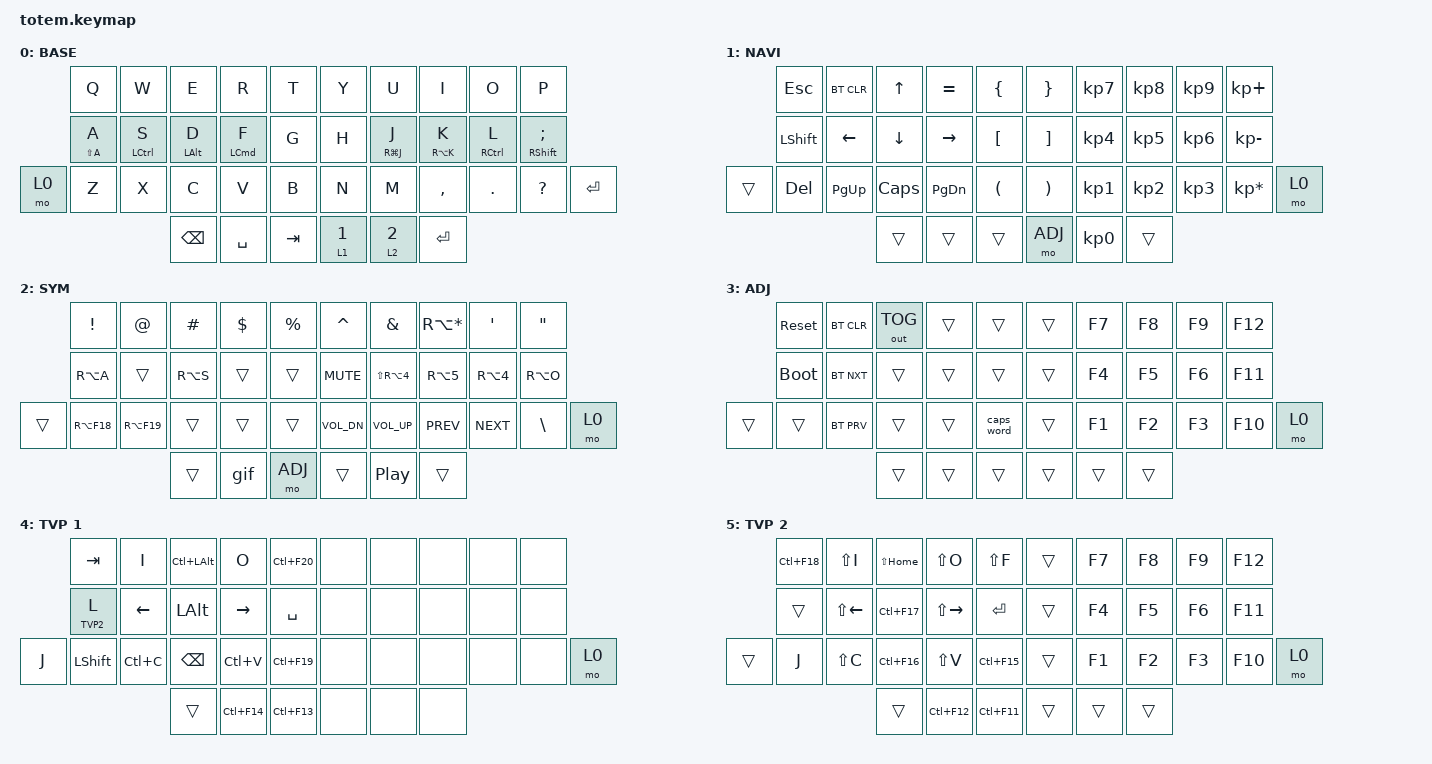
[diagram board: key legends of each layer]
//
//                                                        ▀▀▀▀▀     ▀▀▀▀▀          ▀▀█▀▀
//                                                        ▄▀▀▀▄  ▄  ▄▀▀▀▄  ▄  ▄▀▀▀▄  █  ▄▀▀▀▄
//                                                        █   █  █  █   █  █  █   █  █  █   █
//                                                         ▀▀▀   █   ▀▀▀   █   ▀▀▀   ▀   ▀▀▀
//                                                               █      ▄▄▄█▄▄▄    █   █  
//                                                               ▀      █  █  █     █▄█
//                                                             ▀▀▀▀▀    █  █  █      ▀
//                                                                      ▀  ▀  ▀
//
// ▄▄▄▄▄▄▄▄▄▄▄▄▄▄▄▄▄▄▄▄▄▄▄▄▄▄▄▄▄▄▄▄▄▄▄▄▄▄▄▄▄▄▄▄▄▄▄▄▄▄▄▄▄▄▄▄▄▄▄▄▄▄▄▄▄▄▄▄▄▄▄▄▄▄▄▄▄▄▄▄▄▄▄▄▄▄▄▄▄▄▄▄▄▄▄▄▄▄▄▄▄▄▄▄▄▄▄▄▄▄▄▄▄▄▄▄▄▄▄▄▄▄▄▄▄▄▄▄▄▄▄▄▄▄▄▄▄▄▄▄▄▄▄▄▄▄▄▄▄

#include <behaviors.dtsi>
#include <dt-bindings/zmk/bt.h>
#include <dt-bindings/zmk/keys.h>
#include <dt-bindings/zmk/outputs.h>

#define BASE 0
#define NAV  1
#define SYM  2
#define ADJ  3
#define TVP1 4
#define TVP2 5

&mt {
    quick-tap-ms = <100>;
    global-quick-tap;
    flavor = "tap-preferred";
    tapping-term-ms = <170>;
};

/ {
    combos {
        compatible = "zmk,combos";

        combo_esc {
            timeout-ms = <50>;
            key-positions = <0 1>;
            bindings = <&kp ESC>;
        };

        combo_tvp {
            timeout-ms = <100>;
            key-positions = <11 12 13>;
            bindings = <&tog TVP1>;
        };

        combo_enter {
            bindings = <&none>;
            key-positions = <16 17 18>;
        };
    };

    macros {
        gif: gif {
            label = "giphy";
            compatible = "zmk,behavior-macro";
            #binding-cells = <0>;
            bindings =
                <&macro_press>,
                <&kp LSHFT>,
                <&macro_tap>,
                <&kp N2>,
                <&macro_release>,
                <&kp LSHFT>,
                <&macro_tap>,
                <&kp G &kp I &kp F>;
        };

        test1: test1 {
            compatible = "zmk,behavior-macro";
            #binding-cells = <0>;
            bindings = <&none &kp EXCL &kp N4 &kp N1 &kp N0 &kp LS(A) &kp LS(D) &kp N0 &kp D &kp E &kp C &kp A &kp E &kp T &kp E &kp R>;
            label = "TEST1";
        };
    };

    behaviors {
        hml: home_row_left {
            compatible = "zmk,behavior-hold-tap";
            label = "HML";
            bindings = <&kp>, <&kp>;

            #binding-cells = <2>;
            tapping-term-ms = <200>;
        };

        hmr: hmr {
            compatible = "zmk,behavior-hold-tap";
            label = "Home mod right";
            bindings = <&kp>, <&kp>;

            #binding-cells = <2>;
            tapping-term-ms = <200>;
            hold-trigger-key-positions = <16 17 18 19>;
        };
    };

    keymap {
        compatible = "zmk,keymap";

        // ▄▄▄▄▄▄▄▄▄▄▄▄▄▄▄▄▄▄▄▄▄▄▄▄▄▄▄▄▄▄▄▄▄▄▄▄▄▄▄▄▄▄▄▄▄▄▄▄▄▄▄▄▄▄▄▄▄▄▄▄▄▄▄▄▄▄▄▄▄▄▄▄▄▄▄▄▄▄▄▄▄▄▄▄▄▄▄▄▄▄▄▄▄▄▄▄▄▄▄▄▄▄▄▄▄▄▄▄▄▄▄▄▄▄▄▄▄▄▄▄▄▄▄▄▄▄▄▄▄▄▄▄▄▄▄▄▄▄▄▄▄▄▄▄▄▄▄▄▄

        base_layer {
            // ┏━━━━━━━━━━━━━━━━━━━━━━━━━━━━━━━━━━━━━━━┓

            label = "BASE";

            // ┗━━━━━━━━━━━━━━━━━━━━━━━━━━━━━━━━━━━━━━━┛
            //             ┏━━━━━━━━━━━┳━━━━━━━━━━━┳━━━━━━━━━━━┳━━━━━━━━━━━┳━━━━━━━━━━━┓   ┏━━━━━━━━━━━┳━━━━━━━━━━━┳━━━━━━━━━━━┳━━━━━━━━━━━┳━━━━━━━━━━━┓
            //             ┃     Q     ┃     W     ┃     F     ┃     P     ┃     G     ┃   ┃     J     ┃     L     ┃     U     ┃     Y     ┃     ;     ┃
            //             ┣━━━━━━━━━━━╋━━━━━━━━━━━╋━━━━━━━━━━━╋━━━━━━━━━━━╋━━━━━━━━━━━┫   ┣━━━━━━━━━━━╋━━━━━━━━━━━╋━━━━━━━━━━━╋━━━━━━━━━━━╋━━━━━━━━━━━┫
            //             ┃     A     ┃     R     ┃     S     ┃     T     ┃     D     ┃   ┃     H     ┃     N     ┃     E     ┃     I     ┃     O     ┃
            // ┏━━━━━━━━━━━╋━━━━━━━━━━━╋━━━━━━━━━━━╋━━━━━━━━━━━╋━━━━━━━━━━━╋━━━━━━━━━━━┫   ┣━━━━━━━━━━━╋━━━━━━━━━━━╋━━━━━━━━━━━╋━━━━━━━━━━━╋━━━━━━━━━━━╋━━━━━━━━━━━┓
            // ┃     Q     ┃     Z     ┃     X     ┃     C     ┃     V     ┃     B     ┃   ┃     K     ┃     M     ┃     ,     ┃     .     ┃     /     ┃     \     ┃
            // ┗━━━━━━━━━━━┻━━━━━━━━━━━┻━━━━━━━━━━━╋━━━━━━━━━━━╋━━━━━━━━━━━╋━━━━━━━━━━━┫   ┣━━━━━━━━━━━╋━━━━━━━━━━━╋━━━━━━━━━━━╋━━━━━━━━━━━┻━━━━━━━━━━━┻━━━━━━━━━━━┛
            //                                     ┃    DEL    ┃    TAB    ┃    SPC    ┃   ┃   ENTER   ┃           ┃   BSPC    ┃
            //                                     ┗━━━━━━━━━━━┻━━━━━━━━━━━┻━━━━━━━━━━━┛   ┗━━━━━━━━━━━┻━━━━━━━━━━━┻━━━━━━━━━━━┛

            bindings = <
       &kp Q         &kp W         &kp E            &kp R                &kp T      &kp Y           &kp U           &kp I         &kp O                 &kp P
       &hml LS(A) A  &hml LCTRL S  &hml LEFT_ALT D  &hml LEFT_COMMAND F  &kp G      &kp H           &hmr RG(J) J    &hmr RA(K) K  &hmr RIGHT_CONTROL L  &hmr RIGHT_SHIFT SEMICOLON
&mo 0  &kp Z         &kp X         &kp C            &kp V                &kp B      &kp N           &kp M           &kp COMMA     &kp DOT               &kp QUESTION                &kp ENTER
                                   &kp BACKSPACE    &kp SPACE            &kp TAB    &lt 1 NUMBER_1  &lt 2 NUMBER_2  &kp ENTER
            >;
        };

        // ▄▄▄▄▄▄▄▄▄▄▄▄▄▄▄▄▄▄▄▄▄▄▄▄▄▄▄▄▄▄▄▄▄▄▄▄▄▄▄▄▄▄▄▄▄▄▄▄▄▄▄▄▄▄▄▄▄▄▄▄▄▄▄▄▄▄▄▄▄▄▄▄▄▄▄▄▄▄▄▄▄▄▄▄▄▄▄▄▄▄▄▄▄▄▄▄▄▄▄▄▄▄▄▄▄▄▄▄▄▄▄▄▄▄▄▄▄▄▄▄▄▄▄▄▄▄▄▄▄▄▄▄▄▄▄▄▄▄▄▄▄▄▄▄▄▄▄▄▄

        nav_layer {
            // ┏━━━━━━━━━━━━━━━━━━━━━━━━━━━━━━━━━━━━━━━┓

            label = "NAVI";

            // ┗━━━━━━━━━━━━━━━━━━━━━━━━━━━━━━━━━━━━━━━┛
            //             ┏━━━━━━━━━━━┳━━━━━━━━━━━┳━━━━━━━━━━━┳━━━━━━━━━━━┳━━━━━━━━━━━┓   ┏━━━━━━━━━━━┳━━━━━━━━━━━┳━━━━━━━━━━━┳━━━━━━━━━━━┳━━━━━━━━━━━┓
            //             ┃           ┃           ┃     UP    ┃           ┃     {     ┃   ┃     }     ┃     7     ┃     8     ┃     9     ┃     +     ┃
            //             ┣━━━━━━━━━━━╋━━━━━━━━━━━╋━━━━━━━━━━━╋━━━━━━━━━━━╋━━━━━━━━━━━┫   ┣━━━━━━━━━━━╋━━━━━━━━━━━╋━━━━━━━━━━━╋━━━━━━━━━━━╋━━━━━━━━━━━┫
            //             ┃   SHIFT   ┃   LEFT    ┃    DOWN   ┃   RIGHT   ┃     [     ┃   ┃     ]     ┃     4     ┃     5     ┃     6     ┃     -     ┃
            // ┏━━━━━━━━━━━╋━━━━━━━━━━━╋━━━━━━━━━━━╋━━━━━━━━━━━╋━━━━━━━━━━━╋━━━━━━━━━━━┫   ┣━━━━━━━━━━━╋━━━━━━━━━━━╋━━━━━━━━━━━╋━━━━━━━━━━━╋━━━━━━━━━━━╋━━━━━━━━━━━┓
            // ┃           ┃           ┃   P UP    ┃  C LOCK   ┃  P DOWN   ┃     (     ┃   ┃     )     ┃     1     ┃     2     ┃     3     ┃     *     ┃           ┃
            // ┗━━━━━━━━━━━┻━━━━━━━━━━━┻━━━━━━━━━━━╋━━━━━━━━━━━╋━━━━━━━━━━━╋━━━━━━━━━━━┫   ┣━━━━━━━━━━━╋━━━━━━━━━━━╋━━━━━━━━━━━╋━━━━━━━━━━━┻━━━━━━━━━━━┻━━━━━━━━━━━┛
            //                                     ┃           ┃    TAB    ┃    SPC    ┃   ┃    DEL    ┃     0     ┃           ┃
            //                                     ┗━━━━━━━━━━━┻━━━━━━━━━━━┻━━━━━━━━━━━┛   ┗━━━━━━━━━━━┻━━━━━━━━━━━┻━━━━━━━━━━━┛

            bindings = <
        &kp ESC    &bt BT_CLR  &kp UP    &kp EQUAL  &kp LBRC    &kp RBRC  &kp KP_N7  &kp KP_N8  &kp KP_N9  &kp KP_PLUS
        &kp LSHFT  &kp LEFT    &kp DOWN  &kp RIGHT  &kp LBKT    &kp RBKT  &kp KP_N4  &kp KP_N5  &kp KP_N6  &kp KP_MINUS
&trans  &kp DEL    &kp PG_UP   &kp CAPS  &kp PG_DN  &kp LPAR    &kp RPAR  &kp KP_N1  &kp KP_N2  &kp KP_N3  &kp KP_MULTIPLY  &mo 0
                               &trans    &trans     &trans      &mo ADJ   &kp KP_N0  &trans
            >;
        };

        // ▄▄▄▄▄▄▄▄▄▄▄▄▄▄▄▄▄▄▄▄▄▄▄▄▄▄▄▄▄▄▄▄▄▄▄▄▄▄▄▄▄▄▄▄▄▄▄▄▄▄▄▄▄▄▄▄▄▄▄▄▄▄▄▄▄▄▄▄▄▄▄▄▄▄▄▄▄▄▄▄▄▄▄▄▄▄▄▄▄▄▄▄▄▄▄▄▄▄▄▄▄▄▄▄▄▄▄▄▄▄▄▄▄▄▄▄▄▄▄▄▄▄▄▄▄▄▄▄▄▄▄▄▄▄▄▄▄▄▄▄▄▄▄▄▄▄▄▄▄

        sim_layer {
            // ┏━━━━━━━━━━━━━━━━━━━━━━━━━━━━━━━━━━━━━━━┓

            label = "SYM";

            // ┗━━━━━━━━━━━━━━━━━━━━━━━━━━━━━━━━━━━━━━━┛
            //             ┏━━━━━━━━━━━┳━━━━━━━━━━━┳━━━━━━━━━━━┳━━━━━━━━━━━┳━━━━━━━━━━━┓   ┏━━━━━━━━━━━┳━━━━━━━━━━━┳━━━━━━━━━━━┳━━━━━━━━━━━┳━━━━━━━━━━━┓
            //             ┃     !     ┃     @     ┃     #     ┃     $     ┃     %     ┃   ┃     ˆ     ┃     &     ┃     Ü     ┃     '     ┃     "     ┃
            //             ┣━━━━━━━━━━━╋━━━━━━━━━━━╋━━━━━━━━━━━╋━━━━━━━━━━━╋━━━━━━━━━━━┫   ┣━━━━━━━━━━━╋━━━━━━━━━━━╋━━━━━━━━━━━╋━━━━━━━━━━━╋━━━━━━━━━━━┫
            //             ┃     Ä     ┃           ┃    SZ     ┃           ┃           ┃   ┃   MUTE    ┃   YEN     ┃   EURO    ┃  POUND    ┃     Ö     ┃
            // ┏━━━━━━━━━━━╋━━━━━━━━━━━╋━━━━━━━━━━━╋━━━━━━━━━━━╋━━━━━━━━━━━╋━━━━━━━━━━━┫   ┣━━━━━━━━━━━╋━━━━━━━━━━━╋━━━━━━━━━━━╋━━━━━━━━━━━╋━━━━━━━━━━━╋━━━━━━━━━━━┓
            // ┃           ┃  EMAIL1   ┃  EMAIL2   ┃           ┃           ┃           ┃   ┃   VOL-    ┃   VOL+    ┃   LAST    ┃   NEXT    ┃     \     ┃           ┃
            // ┗━━━━━━━━━━━┻━━━━━━━━━━━┻━━━━━━━━━━━╋━━━━━━━━━━━╋━━━━━━━━━━━╋━━━━━━━━━━━┫   ┣━━━━━━━━━━━╋━━━━━━━━━━━╋━━━━━━━━━━━╋━━━━━━━━━━━┻━━━━━━━━━━━┻━━━━━━━━━━━┛
            //                                     ┃           ┃    GIF    ┃    ADJ    ┃   ┃           ┃           ┃           ┃
            //                                     ┗━━━━━━━━━━━┻━━━━━━━━━━━┻━━━━━━━━━━━┛   ┗━━━━━━━━━━━┻━━━━━━━━━━━┻━━━━━━━━━━━┛

            bindings = <
        &kp EXCL     &kp AT       &kp HASH   &kp DLLR  &kp PRCNT    &kp CARET     &kp AMPS        &kp RA(ASTERISK)  &kp SQT     &kp DQT
        &kp RA(A)    &trans       &kp RA(S)  &trans    &trans       &kp C_MUTE    &kp LS(RA(N4))  &kp RA(N5)        &kp RA(N4)  &kp RA(O)
&trans  &kp RA(F18)  &kp RA(F19)  &trans     &trans    &trans       &kp C_VOL_DN  &kp C_VOL_UP    &kp C_PREV        &kp C_NEXT  &kp BSLH   &mo 0
                                  &trans     &gif      &mo ADJ      &trans        &kp C_PP        &trans
            >;
        };

        // ▄▄▄▄▄▄▄▄▄▄▄▄▄▄▄▄▄▄▄▄▄▄▄▄▄▄▄▄▄▄▄▄▄▄▄▄▄▄▄▄▄▄▄▄▄▄▄▄▄▄▄▄▄▄▄▄▄▄▄▄▄▄▄▄▄▄▄▄▄▄▄▄▄▄▄▄▄▄▄▄▄▄▄▄▄▄▄▄▄▄▄▄▄▄▄▄▄▄▄▄▄▄▄▄▄▄▄▄▄▄▄▄▄▄▄▄▄▄▄▄▄▄▄▄▄▄▄▄▄▄▄▄▄▄▄▄▄▄▄▄▄▄▄▄▄▄▄▄▄

        adjust_layer {
            // ┏━━━━━━━━━━━━━━━━━━━━━━━━━━━━━━━━━━━━━━━┓

            label = "ADJ";

            // ┗━━━━━━━━━━━━━━━━━━━━━━━━━━━━━━━━━━━━━━━┛
            //             ┏━━━━━━━━━━━┳━━━━━━━━━━━┳━━━━━━━━━━━┳━━━━━━━━━━━┳━━━━━━━━━━━┓   ┏━━━━━━━━━━━┳━━━━━━━━━━━┳━━━━━━━━━━━┳━━━━━━━━━━━┳━━━━━━━━━━━┓
            //             ┃   RESET   ┃ BT CLEAR  ┃  OUT TOG  ┃           ┃           ┃   ┃           ┃    F7     ┃    F8     ┃    F9     ┃    F12    ┃
            //             ┣━━━━━━━━━━━╋━━━━━━━━━━━╋━━━━━━━━━━━╋━━━━━━━━━━━╋━━━━━━━━━━━┫   ┣━━━━━━━━━━━╋━━━━━━━━━━━╋━━━━━━━━━━━╋━━━━━━━━━━━╋━━━━━━━━━━━┫
            //             ┃ BOOTLOAD  ┃ BT NEXT   ┃           ┃           ┃           ┃   ┃           ┃    F4     ┃    F5     ┃    F6     ┃    F11    ┃
            // ┏━━━━━━━━━━━╋━━━━━━━━━━━╋━━━━━━━━━━━╋━━━━━━━━━━━╋━━━━━━━━━━━╋━━━━━━━━━━━┫   ┣━━━━━━━━━━━╋━━━━━━━━━━━╋━━━━━━━━━━━╋━━━━━━━━━━━╋━━━━━━━━━━━╋━━━━━━━━━━━┓
            // ┃           ┃           ┃ BT PREV   ┃           ┃           ┃           ┃   ┃           ┃    F1     ┃    F2     ┃    F3     ┃    F10    ┃           ┃
            // ┗━━━━━━━━━━━┻━━━━━━━━━━━┻━━━━━━━━━━━╋━━━━━━━━━━━╋━━━━━━━━━━━╋━━━━━━━━━━━┫   ┣━━━━━━━━━━━╋━━━━━━━━━━━╋━━━━━━━━━━━╋━━━━━━━━━━━┻━━━━━━━━━━━┻━━━━━━━━━━━┛
            //                                     ┃           ┃           ┃           ┃   ┃           ┃           ┃           ┃
            //                                     ┗━━━━━━━━━━━┻━━━━━━━━━━━┻━━━━━━━━━━━┛   ┗━━━━━━━━━━━┻━━━━━━━━━━━┻━━━━━━━━━━━┛

            bindings = <
        &sys_reset   &bt BT_CLR  &out OUT_TOG  &trans  &trans        &trans  &kp F7  &kp F8  &kp F9  &kp F12
        &bootloader  &bt BT_NXT  &trans        &trans  &trans        &trans  &kp F4  &kp F5  &kp F6  &kp F11
&trans  &trans       &bt BT_PRV  &trans        &trans  &caps_word    &trans  &kp F1  &kp F2  &kp F3  &kp F10  &mo 0
                                 &trans        &trans  &trans        &trans  &trans  &trans
            >;
        };

        // ▄▄▄▄▄▄▄▄▄▄▄▄▄▄▄▄▄▄▄▄▄▄▄▄▄▄▄▄▄▄▄▄▄▄▄▄▄▄▄▄▄▄▄▄▄▄▄▄▄▄▄▄▄▄▄▄▄▄▄▄▄▄▄▄▄▄▄▄▄▄▄▄▄▄▄▄▄▄▄▄▄▄▄▄▄▄▄▄▄▄▄▄▄▄▄▄▄▄▄▄▄▄▄▄▄▄▄▄▄▄▄▄▄▄▄▄▄▄▄▄▄▄▄▄▄▄▄▄▄▄▄▄▄▄▄▄▄▄▄▄▄▄▄▄▄▄▄▄▄

        tvp1_layer {
            // ┏━━━━━━━━━━━━━━━━━━━━━━━━━━━━━━━━━━━━━━━┓

            label = "TVP 1";

            // ┗━━━━━━━━━━━━━━━━━━━━━━━━━━━━━━━━━━━━━━━┛
            //             ┏━━━━━━━━━━━┳━━━━━━━━━━━┳━━━━━━━━━━━┳━━━━━━━━━━━┳━━━━━━━━━━━┓   ┏━━━━━━━━━━━┳━━━━━━━━━━━┳━━━━━━━━━━━┳━━━━━━━━━━━┳━━━━━━━━━━━┓
            //             ┃ NEXT FILE ┃ MARK IN   ┃ ROTATE    ┃ MARK OUT  ┃ SHOW SNAP ┃   ┃           ┃           ┃           ┃           ┃           ┃
            //             ┣━━━━━━━━━━━╋━━━━━━━━━━━╋━━━━━━━━━━━╋━━━━━━━━━━━╋━━━━━━━━━━━┫   ┣━━━━━━━━━━━╋━━━━━━━━━━━╋━━━━━━━━━━━╋━━━━━━━━━━━╋━━━━━━━━━━━┫
            //             ┃ TVP II    ┃ LEFT      ┃ PAN       ┃ RIGHT     ┃ PLAY/FLIP ┃   ┃           ┃           ┃           ┃           ┃           ┃
            // ┏━━━━━━━━━━━╋━━━━━━━━━━━╋━━━━━━━━━━━╋━━━━━━━━━━━╋━━━━━━━━━━━╋━━━━━━━━━━━┫   ┣━━━━━━━━━━━╋━━━━━━━━━━━╋━━━━━━━━━━━╋━━━━━━━━━━━╋━━━━━━━━━━━╋━━━━━━━━━━━┓
            // ┃ FULLSCR   ┃ SHIFT     ┃ COPY      ┃ DELETE    ┃ PASTE     ┃ IMG MARK  ┃   ┃           ┃           ┃           ┃           ┃           ┃           ┃
            // ┗━━━━━━━━━━━┻━━━━━━━━━━━┻━━━━━━━━━━━╋━━━━━━━━━━━╋━━━━━━━━━━━╋━━━━━━━━━━━┫   ┣━━━━━━━━━━━╋━━━━━━━━━━━╋━━━━━━━━━━━╋━━━━━━━━━━━┻━━━━━━━━━━━┻━━━━━━━━━━━┛
            //                                     ┃           ┃ UNDO/SAVE ┃  SEL/MOV  ┃   ┃           ┃           ┃           ┃
            //                                     ┗━━━━━━━━━━━┻━━━━━━━━━━━┻━━━━━━━━━━━┛   ┗━━━━━━━━━━━┻━━━━━━━━━━━┻━━━━━━━━━━━┛

            bindings = <
       &kp TAB     &kp I      &kp LC(LALT)  &kp O        &kp LC(F20)    &none  &none  &none  &none  &none
       &lt TVP2 L  &kp LEFT   &kp LALT      &kp RIGHT    &kp SPACE      &none  &none  &none  &none  &none
&kp J  &kp LSHFT   &kp LC(C)  &kp BSPC      &kp LC(V)    &kp LC(F19)    &none  &none  &none  &none  &none  &mo 0
                              &trans        &kp LC(F14)  &kp LC(F13)    &none  &none  &none
            >;
        };

        // ▄▄▄▄▄▄▄▄▄▄▄▄▄▄▄▄▄▄▄▄▄▄▄▄▄▄▄▄▄▄▄▄▄▄▄▄▄▄▄▄▄▄▄▄▄▄▄▄▄▄▄▄▄▄▄▄▄▄▄▄▄▄▄▄▄▄▄▄▄▄▄▄▄▄▄▄▄▄▄▄▄▄▄▄▄▄▄▄▄▄▄▄▄▄▄▄▄▄▄▄▄▄▄▄▄▄▄▄▄▄▄▄▄▄▄▄▄▄▄▄▄▄▄▄▄▄▄▄▄▄▄▄▄▄▄▄▄▄▄▄▄▄▄▄▄▄▄▄▄

        tvp2_layer {
            // ┏━━━━━━━━━━━━━━━━━━━━━━━━━━━━━━━━━━━━━━━┓

            label = "TVP 2";

            // ┗━━━━━━━━━━━━━━━━━━━━━━━━━━━━━━━━━━━━━━━┛
            //             ┏━━━━━━━━━━━┳━━━━━━━━━━━┳━━━━━━━━━━━┳━━━━━━━━━━━┳━━━━━━━━━━━┓   ┏━━━━━━━━━━━┳━━━━━━━━━━━┳━━━━━━━━━━━┳━━━━━━━━━━━┳━━━━━━━━━━━┓
            //             ┃ SOLO      ┃ TOGGLE IN ┃ RESET ROT ┃ TOGGLE OUT┃ TAKE SNAP ┃   ┃           ┃           ┃           ┃           ┃           ┃
            //             ┣━━━━━━━━━━━╋━━━━━━━━━━━╋━━━━━━━━━━━╋━━━━━━━━━━━╋━━━━━━━━━━━┫   ┣━━━━━━━━━━━╋━━━━━━━━━━━╋━━━━━━━━━━━╋━━━━━━━━━━━╋━━━━━━━━━━━┫
            //             ┃ ---       ┃ LAST KEY  ┃ NEW KEY   ┃ NEXT KEY  ┃ ENTER     ┃   ┃           ┃           ┃           ┃           ┃           ┃
            // ┏━━━━━━━━━━━╋━━━━━━━━━━━╋━━━━━━━━━━━╋━━━━━━━━━━━╋━━━━━━━━━━━╋━━━━━━━━━━━┫   ┣━━━━━━━━━━━╋━━━━━━━━━━━╋━━━━━━━━━━━╋━━━━━━━━━━━╋━━━━━━━━━━━╋━━━━━━━━━━━┓
            // ┃           ┃ FULLSCR   ┃ CPY2BRUSH ┃ DEL HEAD  ┃ PSTinPLACE┃ BOOK MARK ┃   ┃           ┃           ┃           ┃           ┃           ┃           ┃
            // ┗━━━━━━━━━━━┻━━━━━━━━━━━┻━━━━━━━━━━━╋━━━━━━━━━━━╋━━━━━━━━━━━╋━━━━━━━━━━━┫   ┣━━━━━━━━━━━╋━━━━━━━━━━━╋━━━━━━━━━━━╋━━━━━━━━━━━┻━━━━━━━━━━━┻━━━━━━━━━━━┛
            //                                     ┃           ┃ REDO/SAV1 ┃TRANS/WARP ┃   ┃           ┃           ┃           ┃
            //                                     ┗━━━━━━━━━━━┻━━━━━━━━━━━┻━━━━━━━━━━━┛   ┗━━━━━━━━━━━┻━━━━━━━━━━━┻━━━━━━━━━━━┛

            bindings = <
        &kp LC(F18)  &kp LS(I)     &kp LS(HOME)  &kp LS(O)      &kp LS(F)      &trans  &kp F7  &kp F8  &kp F9  &kp F12
        &trans       &kp LS(LEFT)  &kp LC(F17)   &kp LS(RIGHT)  &kp RET        &trans  &kp F4  &kp F5  &kp F6  &kp F11
&trans  &kp J        &kp LS(C)     &kp LC(F16)   &kp LS(V)      &kp LC(F15)    &trans  &kp F1  &kp F2  &kp F3  &kp F10  &mo 0
                                   &trans        &kp LC(F12)    &kp LC(F11)    &trans  &trans  &trans
            >;
        };
    };
};
